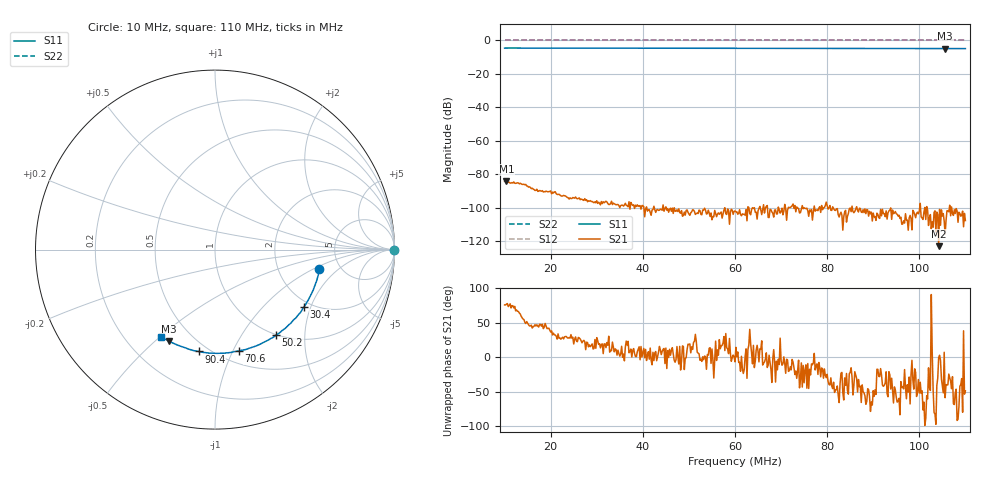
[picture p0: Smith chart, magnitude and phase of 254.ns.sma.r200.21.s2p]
! Anritsu VNA Master:  Model: MS2036C/10/77
! SN:  1601066
! /card0/usr/254.ns.sma.r200.21.s2p
! Existing Calibration Information:
! TYPE:  Current Settings,  Active Cal Settings
! TIME:  12/20/2017 01:49:05 PM,  12/20/2017 01:40:30 PM
! INTERNAL TEMP:  46.8 C,  46.0 C
! # POINTS:  501,  501
! START FREQ:  10.000 MHz,  10.000 MHz
! STOP FREQ:  110.000 MHz,  110.000 MHz
! SOURCE POWER:  High,  High
! IFBW:  100 Hz,  100 Hz
! AVG FACTOR:  1 ,  1
! REF PLANE 1:  0 mm,  0 mm
! REF PLANE 2:  0 mm,  0 mm
! CAL TYPE:  Full S11,  Full S11
! CAL METHOD:  SOLT,  SOLT
! CAL LINE TYPE:  Coax,  Coax
! DUT PORT 1:  N-Conn(F),  N-Conn(F)
! DUT PORT 2:  K-Conn(F),  K-Conn(F)
! CAL STATUS:  OK: Accuracy High,  --
# GHZ S DB R 50.0
! FREQ.GHZ  S11DB  S11A  S21DB  S21A  S12DB  S12A  S22DB  S22A
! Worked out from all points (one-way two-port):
!   501 points, 10 MHz to 110 MHz, reference 50 ohm
!   highest |S21| = -84.33 dB at 10.4 MHz (marker M1); lowest = -123.1 dB at 104.2 MHz (marker M2)
!   lowest |S11| = -4.9 dB at 105.6 MHz (marker M3), VSWR 3.65, Z = 18.4 - j27.8 ohm
!   |S11| at or under -10 dB: nowhere
!   |S22| runs from 0.0 to 0.0 dB; largest |S21 - S12| = 1
!   S11 on the Smith chart (normalised r, x): 10 MHz: 3.47, -1.18; 30.4 MHz: 1.83, -1.79; 50.2 MHz: 0.99, -1.44; 70.6 MHz: 0.62, -1.05; 90.4 MHz: 0.44, -0.75; 110 MHz: 0.35, -0.51
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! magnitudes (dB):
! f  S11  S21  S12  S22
! 10 MHz  -4.5  -84.3  0.0  0.0
! 10.4 MHz  -4.5  -84.3  0.0  0.0
! 26.8 MHz  -4.6  -95.1  0.0  0.0
! 30.4 MHz  -4.6  -96.8  0.0  0.0
! 33.4 MHz  -4.6  -98.2  0.0  0.0
! 35.6 MHz  -4.6  -98.6  0.0  0.0
! 37.2 MHz  -4.6  -101.0  0.0  0.0
! 38.8 MHz  -4.6  -98.4  0.0  0.0
! 40.6 MHz  -4.6  -100.9  0.0  0.0
! 43.4 MHz  -4.6  -101.7  0.0  0.0
! 50.2 MHz  -4.6  -104.7  0.0  0.0
! 51.8 MHz  -4.6  -103.4  0.0  0.0
! 57 MHz  -4.7  -102.7  0.0  0.0
! 60 MHz  -4.7  -102.0  0.0  0.0
! 70.6 MHz  -4.7  -102.2  0.0  0.0
! 76.8 MHz  -4.7  -107.5  0.0  0.0
! 90.4 MHz  -4.8  -105.5  0.0  0.0
! 93.4 MHz  -4.8  -102.0  0.0  0.0
! 97.8 MHz  -4.9  -106.3  0.0  0.0
! 104.2 MHz  -4.9  -123.1  0.0  0.0
! 105.6 MHz  -4.9  -115.9  0.0  0.0
! 110 MHz  -4.9  -107.8  0.0  0.0
